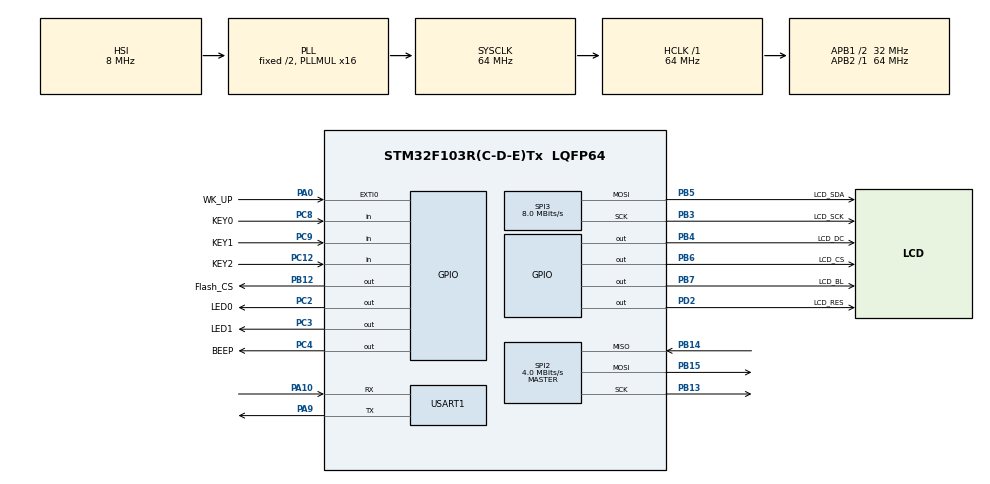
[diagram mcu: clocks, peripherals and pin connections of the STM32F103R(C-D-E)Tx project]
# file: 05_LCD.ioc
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Mcu.Family=STM32F1
Mcu.Name=STM32F103R(C-D-E)Tx
Mcu.Package=LQFP64
NVIC.PriorityGroup=NVIC_PRIORITYGROUP_2
NVIC.USART1_IRQn=true\:1\:0\:true\:false\:true\:true\:true\:true
PA0-WKUP.GPIO_Label=WK_UP
PA0-WKUP.GPIO_ModeDefaultEXTI=GPIO_MODE_IT_RISING
PA0-WKUP.GPIO_PuPd=GPIO_PULLDOWN
PA0-WKUP.Signal=GPXTI0
PA10.Mode=Asynchronous
PA10.Signal=USART1_RX
PA13.Mode=Serial_Wire
PA13.Signal=SYS_JTMS-SWDIO
PA14.Mode=Serial_Wire
PA14.Signal=SYS_JTCK-SWCLK
PA9.Mode=Asynchronous
PA9.Signal=USART1_TX
PB12.GPIO_Label=Flash_CS
PB12.PinState=GPIO_PIN_SET
PB12.Signal=GPIO_Output
PB13.Mode=Full_Duplex_Master
PB13.Signal=SPI2_SCK
PB14.Mode=Full_Duplex_Master
PB14.Signal=SPI2_MISO
PB15.Mode=Full_Duplex_Master
PB15.Signal=SPI2_MOSI
PB3.GPIO_Label=LCD_SCK
PB3.Mode=TX_Only_Simplex_Unidirect_Master
PB3.Signal=SPI3_SCK
PB4.GPIO_Label=LCD_DC
PB4.GPIO_Speed=GPIO_SPEED_FREQ_HIGH
PB4.PinState=GPIO_PIN_SET
PB4.Signal=GPIO_Output
PB5.GPIO_Label=LCD_SDA
PB5.Mode=TX_Only_Simplex_Unidirect_Master
PB5.Signal=SPI3_MOSI
PB6.GPIO_Label=LCD_CS
PB6.GPIO_Speed=GPIO_SPEED_FREQ_HIGH
PB6.PinState=GPIO_PIN_SET
PB6.Signal=GPIO_Output
PB7.GPIO_Label=LCD_BL
PB7.Signal=GPIO_Output
PC12.GPIO_Label=KEY2
PC12.GPIO_PuPd=GPIO_PULLUP
PC12.Signal=GPIO_Input
PC2.GPIO_Label=LED0
PC2.Signal=GPIO_Output
PC3.GPIO_Label=LED1
PC3.Signal=GPIO_Output
PC4.GPIO_Label=BEEP
PC4.Signal=GPIO_Output
PC8.GPIO_Label=KEY0
PC8.GPIO_PuPd=GPIO_PULLUP
PC8.Signal=GPIO_Input
PC9.GPIO_Label=KEY1
PC9.GPIO_PuPd=GPIO_PULLUP
PC9.Signal=GPIO_Input
PD2.GPIO_Label=LCD_RES
PD2.Signal=GPIO_Output
ProjectManager.HeapSize=0x200
ProjectManager.StackSize=0x400
ProjectManager.TargetToolchain=STM32CubeIDE
RCC.AHBFreq_Value=64000000
RCC.APB1CLKDivider=RCC_HCLK_DIV2
RCC.APB1Freq_Value=32000000
RCC.APB1TimFreq_Value=64000000
RCC.APB2Freq_Value=64000000
RCC.APB2TimFreq_Value=64000000
RCC.HCLKFreq_Value=64000000
RCC.PLLMUL=RCC_PLL_MUL16
RCC.SYSCLKFreq_VALUE=64000000
RCC.SYSCLKSource=RCC_SYSCLKSOURCE_PLLCLK
RCC.USBFreq_Value=64000000
SPI2.BaudRatePrescaler=SPI_BAUDRATEPRESCALER_8
SPI2.CLKPhase=SPI_PHASE_2EDGE
SPI2.CLKPolarity=SPI_POLARITY_HIGH
SPI2.CalculateBaudRate=4.0 MBits/s
SPI2.Direction=SPI_DIRECTION_2LINES
SPI2.Mode=SPI_MODE_MASTER
SPI2.VirtualType=VM_MASTER
SPI3.BaudRatePrescaler=SPI_BAUDRATEPRESCALER_4
SPI3.CalculateBaudRate=8.0 MBits/s
SPI3.Direction=SPI_DIRECTION_2LINES
SPI3.Mode=SPI_MODE_MASTER
SPI3.VirtualType=VM_MASTER
USART1.VirtualMode=VM_ASYNC
board=custom

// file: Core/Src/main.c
/* USER CODE BEGIN Header */
/**
  ******************************************************************************
  * @file           : main.c
  * @brief          : Main program body
  ******************************************************************************
  * @attention
  *
  * Copyright (c) 2025 STMicroelectronics.
  * All rights reserved.
  *
  * This software is licensed under terms that can be found in the LICENSE file
  * in the root directory of this software component.
  * If no LICENSE file comes with this software, it is provided AS-IS.
  *
  ******************************************************************************
  */
/* USER CODE END Header */
#include "main.h"
#include "spi.h"
#include "usart.h"
#include "gpio.h"

/* USER CODE BEGIN Includes */
#include "lcd_spi_169.h"
#include "lcd_test.h"
#include "app.h"
#include "key.h"
#include "w25xx_flash.h"
#include "retarget.h"
/* USER CODE END Includes */

void SystemClock_Config(void);

int main(void)
{

  /* MCU Configuration--------------------------------------------------------*/

  /* Reset of all peripherals, Initializes the Flash interface and the Systick. */
  HAL_Init();

  /* Configure the system clock */
  SystemClock_Config();

  /* Initialize all configured peripherals */
  MX_GPIO_Init();
  MX_USART1_UART_Init();
  MX_SPI3_Init();
  MX_SPI2_Init();
  /* USER CODE BEGIN 2 */
  hw_init();
  LCD_Init();
    RetargetInit(&huart1);
    LCD_SetBackColor(LCD_BLACK); 			//	设置背景色
    // LCD_Clear(); 								// 清屏

    LCD_SetColor(LCD_WHITE);
    LCD_SetAsciiFont(&ASCII_Font20); LCD_DisplayString(0, 20," SPI Flash Demo");
    uint16_t id = Flash_ReadID();
    printf("flash ID: %d\r\n", id);
    char buf[25];
    sprintf(buf, " SPI ID: %04X", id);
    LCD_SetAsciiFont(&ASCII_Font20); LCD_DisplayString(0, 40,buf);

  /* USER CODE END 2 */

  /* Infinite loop */
  /* USER CODE BEGIN WHILE */
  while (1)
  {
        app();

      // HAL_GPIO_TogglePin(LED1_GPIO_Port, LED1_Pin);
      HAL_Delay(100);

    /* USER CODE END WHILE */

  }
}

void SystemClock_Config(void)
{
  RCC_OscInitTypeDef RCC_OscInitStruct = {0};
  RCC_ClkInitTypeDef RCC_ClkInitStruct = {0};

  /** Initializes the RCC Oscillators according to the specified parameters
  * in the RCC_OscInitTypeDef structure.
  */
  RCC_OscInitStruct.OscillatorType = RCC_OSCILLATORTYPE_HSI;
  RCC_OscInitStruct.HSIState = RCC_HSI_ON;
  RCC_OscInitStruct.HSICalibrationValue = RCC_HSICALIBRATION_DEFAULT;
  RCC_OscInitStruct.PLL.PLLState = RCC_PLL_ON;
  RCC_OscInitStruct.PLL.PLLSource = RCC_PLLSOURCE_HSI_DIV2;
  RCC_OscInitStruct.PLL.PLLMUL = RCC_PLL_MUL16;
  if (HAL_RCC_OscConfig(&RCC_OscInitStruct) != HAL_OK)
  {
    Error_Handler();
  }

  /** Initializes the CPU, AHB and APB buses clocks
  */
  RCC_ClkInitStruct.ClockType = RCC_CLOCKTYPE_HCLK|RCC_CLOCKTYPE_SYSCLK
                              |RCC_CLOCKTYPE_PCLK1|RCC_CLOCKTYPE_PCLK2;
  RCC_ClkInitStruct.SYSCLKSource = RCC_SYSCLKSOURCE_PLLCLK;
  RCC_ClkInitStruct.AHBCLKDivider = RCC_SYSCLK_DIV1;
  RCC_ClkInitStruct.APB1CLKDivider = RCC_HCLK_DIV2;
  RCC_ClkInitStruct.APB2CLKDivider = RCC_HCLK_DIV1;

  if (HAL_RCC_ClockConfig(&RCC_ClkInitStruct, FLASH_LATENCY_2) != HAL_OK)
  {
    Error_Handler();
  }
}

void Error_Handler(void)
{
  __disable_irq();
  while (1)
  {
  }
}
